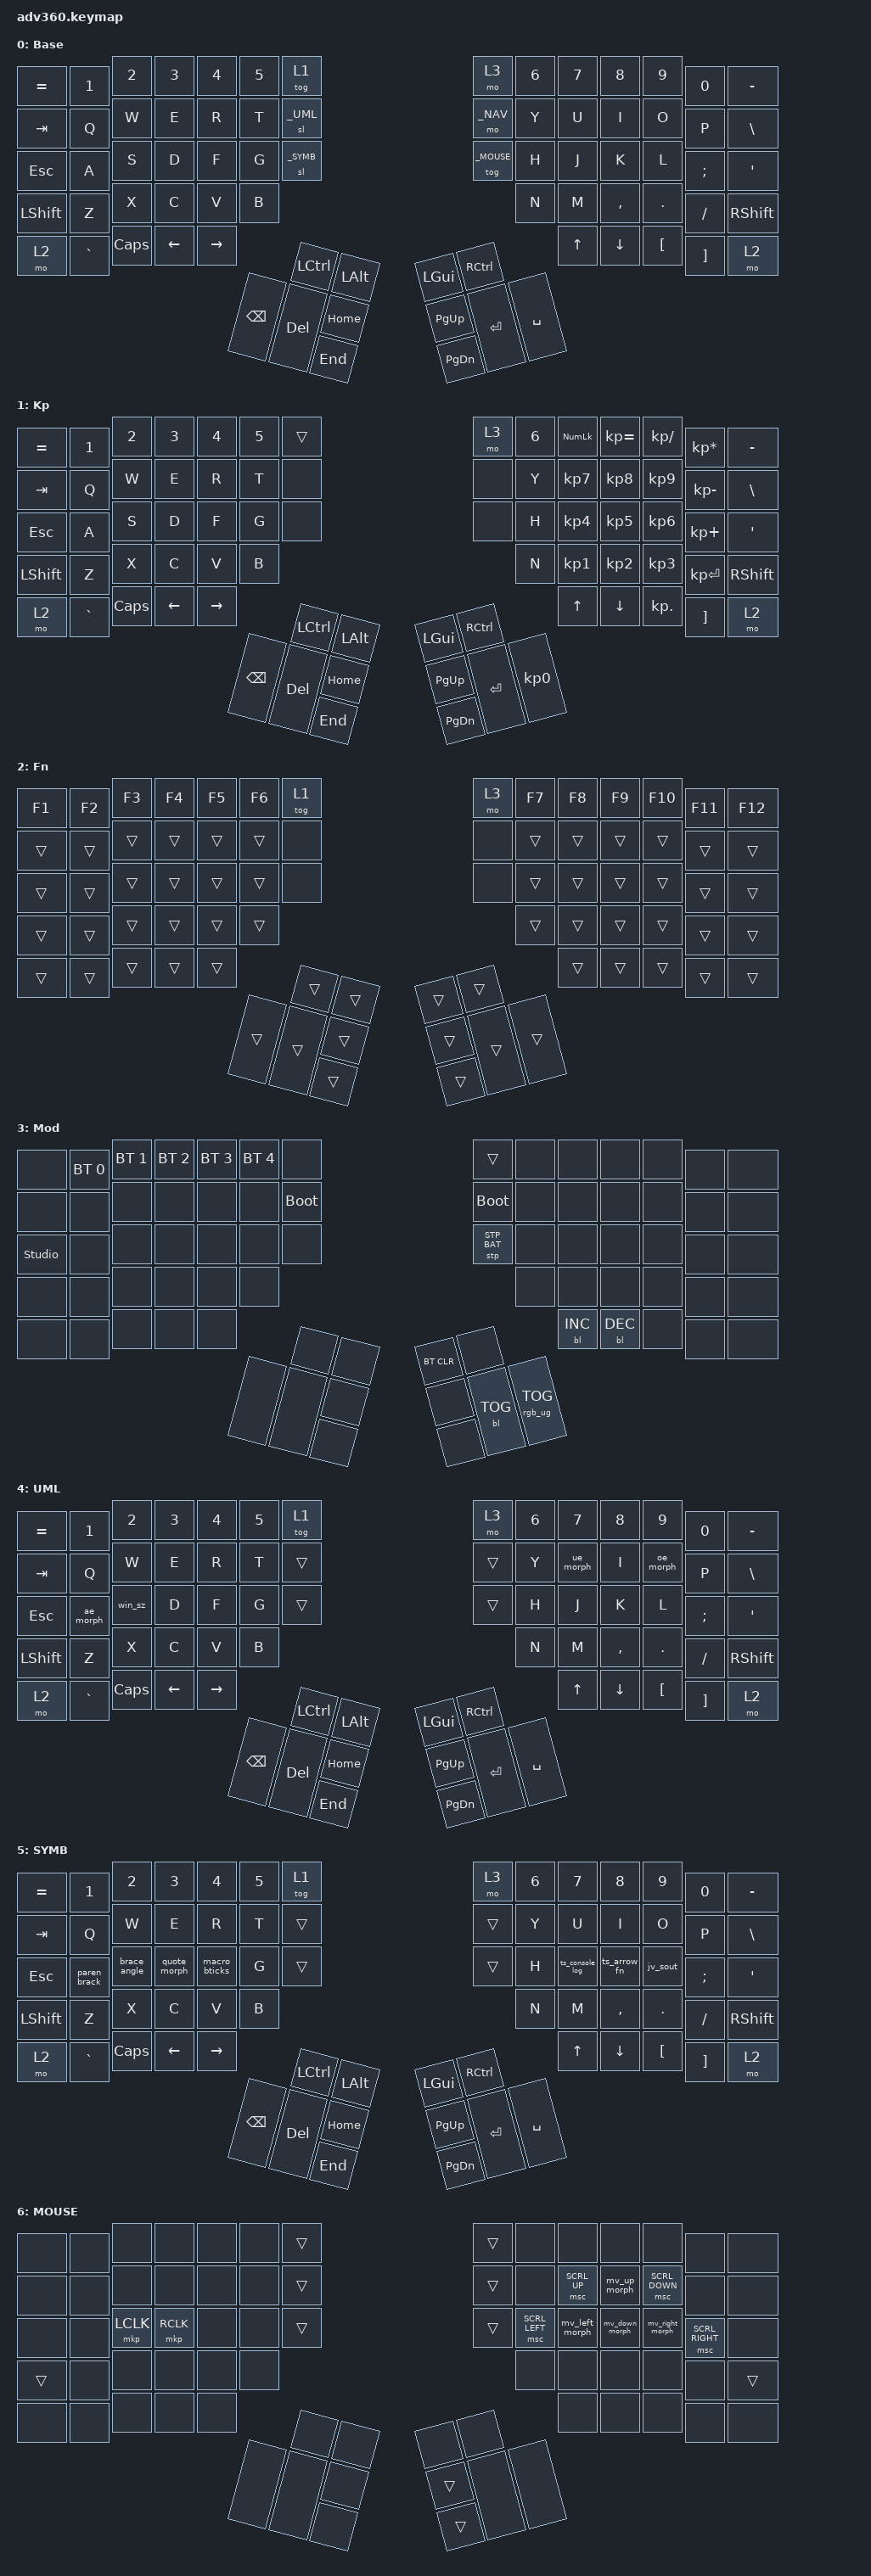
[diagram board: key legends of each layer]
#include <behaviors.dtsi>
#include <dt-bindings/zmk/keys.h>
#include <dt-bindings/zmk/bt.h>
#include <dt-bindings/zmk/rgb.h>
#include <dt-bindings/zmk/stp.h>
#include <dt-bindings/zmk/backlight.h>
#include <dt-bindings/zmk/pointing.h>

// Include these at top level (NOT inside 'behaviors')
#include "macros.dtsi"
// #include "version.dtsi"

#define _BASE   0
#define _KP     1
#define _FN     2
#define _MOD    3
#define _UML    4   // umlaut
#define _SYMB   5   // coding symbols 
#define _MOUSE  6
#define _NAV    7   // navigation/editing

&mmv {
  time-to-max-speed-ms = <100>;   // default ~300
  acceleration-exponent = <1>;    // 0 = linear, >1 = more ramp
};

/ {
  behaviors {

    hm: homerow_mods {
      compatible = "zmk,behavior-hold-tap";
      label = "HOMEROW_MODS";
      #binding-cells = <2>;
      tapping-term-ms = <200>;
      flavor = "balanced";
      bindings = <&kp>, <&kp>; // we pass (MOD, KEY) each time we use &hm
    };

    // mod-morph for A/Ä, O/Ö, U/Ü
    ae_morph: ae_morph {
      compatible = "zmk,behavior-mod-morph";
      #binding-cells = <0>;
      mods = <(MOD_LSFT|MOD_RSFT)>;
      bindings = <&win_ae &win_AE>;
    };
    oe_morph: oe_morph {
      compatible = "zmk,behavior-mod-morph";
      #binding-cells = <0>;
      mods = <(MOD_LSFT|MOD_RSFT)>;
      bindings = <&win_oe &win_OE>;
    };
    ue_morph: ue_morph {
      compatible = "zmk,behavior-mod-morph";
      #binding-cells = <0>;
      mods = <(MOD_LSFT|MOD_RSFT)>;
      bindings = <&win_ue &win_UE>;
    };

    // mod-morph for paired symbols (Shift switches the pair)
    paren_brack: paren_brack {
      compatible = "zmk,behavior-mod-morph";
      #binding-cells = <0>;
      mods = <(MOD_LSFT|MOD_RSFT)>;
      bindings = <&macro_parens &macro_brackets>;
    };
    brace_angle: brace_angle {
      compatible = "zmk,behavior-mod-morph";
      #binding-cells = <0>;
      mods = <(MOD_LSFT|MOD_RSFT)>;
      bindings = <&macro_braces &macro_angles>;
    };
    quote_morph: quote_morph {
      compatible = "zmk,behavior-mod-morph";
      #binding-cells = <0>;
      mods = <(MOD_LSFT|MOD_RSFT)>;
      bindings = <&macro_quotes &macro_dquotes>;
    };

    // Mouse speed
    // Shift held → fast movement; otherwise slow
    mv_up_morph: mv_up_morph {
      compatible = "zmk,behavior-mod-morph";
      #binding-cells = <0>;
      mods = <(MOD_LSFT|MOD_RSFT)>;
      bindings = <&mmv MOVE_Y(-500)   &mmv MOVE_Y(-1200)>; // slow ↑ , fast ↑
    };
    mv_down_morph: mv_down_morph {
      compatible = "zmk,behavior-mod-morph"; #binding-cells = <0>;
      mods = <(MOD_LSFT|MOD_RSFT)>;
      bindings = <&mmv MOVE_Y(500)    &mmv MOVE_Y(1200)>;  // slow ↓ , fast ↓
    };
    mv_left_morph: mv_left_morph {
      compatible = "zmk,behavior-mod-morph"; #binding-cells = <0>;
      mods = <(MOD_LSFT|MOD_RSFT)>;
      bindings = <&mmv MOVE_X(-500)   &mmv MOVE_X(-1200)>; // slow ← , fast ←
    };
    mv_right_morph: mv_right_morph {
      compatible = "zmk,behavior-mod-morph"; #binding-cells = <0>;
      mods = <(MOD_LSFT|MOD_RSFT)>;
      bindings = <&mmv MOVE_X(500)    &mmv MOVE_X(1200)>;  // slow → , fast →
    };
  };

  keymap {
    compatible = "zmk,keymap";

    default_layer {
      display-name = "Base";
      bindings = <
        &kp EQUAL &kp N1    &kp N2   &kp N3   &kp N4     &kp N5 &tog 1                                                           &mo 3      &kp N6 &kp N7 &kp N8    &kp N9   &kp N0   &kp MINUS
        &kp TAB   &kp Q     &kp W    &kp E    &kp R      &kp T  &sl _UML                                                         &mo _NAV   &kp Y  &kp U  &kp I     &kp O    &kp P    &kp BSLH
        &kp ESC   &kp A     &kp S    &kp D    &kp F      &kp G  &sl _SYMB       &kp LCTRL &kp LALT &kp LGUI  &kp RCTRL           &tog _MOUSE &kp H  &kp J  &kp K     &kp L    &kp SEMI &kp APOSTROPHE
        &kp LSHFT &kp Z     &kp X    &kp C    &kp V      &kp B                            &kp HOME &kp PG_UP                                &kp N  &kp M  &kp COMMA &kp DOT  &kp SLASH &kp RSHFT
        &mo 2     &kp GRAVE &kp CAPS &kp LEFT &kp RIGHT                &kp BSPC &kp DEL   &kp END  &kp PG_DN &kp ENTER &kp SPACE                 &kp UP &kp DOWN  &kp LBKT &kp RBKT &mo 2
      >;
    };

    keypad {
      display-name = "Kp";
      bindings = <
        &kp EQUAL &kp N1    &kp N2   &kp N3   &kp N4     &kp N5 &trans                                                           &mo 3 &kp N6 &kp KP_NUM &kp KP_EQUAL &kp KP_DIVIDE &kp KP_MULTIPLY &kp MINUS
        &kp TAB   &kp Q     &kp W    &kp E    &kp R      &kp T  &none                                                            &none &kp Y  &kp KP_N7  &kp KP_N8    &kp KP_N9     &kp KP_MINUS    &kp BSLH
        &kp ESC   &kp A     &kp S    &kp D    &kp F      &kp G  &none           &kp LCTRL &kp LALT &kp LGUI  &kp RCTRL           &none &kp H  &kp KP_N4  &kp KP_N5    &kp KP_N6     &kp KP_PLUS     &kp APOSTROPHE
        &kp LSHFT &kp Z     &kp X    &kp C    &kp V      &kp B                            &kp HOME &kp PG_UP                           &kp N  &kp KP_N1  &kp KP_N2    &kp KP_N3     &kp KP_ENTER    &kp RSHFT
        &mo 2     &kp GRAVE &kp CAPS &kp LEFT &kp RIGHT                &kp BSPC &kp DEL   &kp END  &kp PG_DN &kp ENTER &kp KP_N0              &kp UP     &kp DOWN     &kp KP_DOT    &kp RBKT        &mo 2
      >;
    };

    fn {
      display-name = "Fn";
      bindings = <
        &kp F1 &kp F2 &kp F3 &kp F4 &kp F5 &kp F6 &tog 1                                           &mo 3 &kp F7 &kp F8 &kp F9 &kp F10 &kp F11 &kp F12
        &trans &trans &trans &trans &trans &trans  &none                                           &none &trans &trans &trans &trans  &trans  &trans
        &trans &trans &trans &trans &trans &trans  &none        &trans &trans &trans &trans        &none &trans &trans &trans &trans  &trans  &trans
        &trans &trans &trans &trans &trans &trans                      &trans &trans                     &trans &trans &trans &trans  &trans  &trans
        &trans &trans &trans &trans &trans               &trans &trans &trans &trans &trans &trans              &trans &trans &trans  &trans  &trans
      >;
    };

    mod {
      display-name = "Mod";
      bindings = <
        &none &bt BT_SEL 0 &bt BT_SEL 1 &bt BT_SEL 2 &bt BT_SEL 3 &bt BT_SEL 4 &none                                                                     &trans                 &none        &none        &none        &none &none &none
        &none &none        &none        &none        &none        &none        &bootloader                                                               &bootloader            &none        &none        &none        &none &none &none
        &studio_unlock &none        &none        &none        &none        &none        &none                   &none &none &bt BT_CLR &none                      &stp STP_BAT &none        &none        &none        &none &none &none
        &none &none        &none        &none        &none   &none                                      &none &none                                                        &none        &none        &none        &none &none &none
        &none &none        &none        &none        &none                                       &none &none &none &none      &bl BL_TOG &rgb_ug RGB_TOG                                     &bl BL_INC   &bl BL_DEC   &none &none &none
      >;
    };

    uml {
      display-name = "UML";
      bindings = <
        &kp EQUAL &kp N1    &kp N2   &kp N3   &kp N4     &kp N5 &tog 1                                                           &mo 3      &kp N6 &kp N7  &kp N8    &kp N9   &kp N0   &kp MINUS
        &kp TAB   &kp Q     &kp W    &kp E    &kp R      &kp T  &trans                                                         &trans   &kp Y  &ue_morph &kp I     &oe_morph  &kp P    &kp BSLH
        &kp ESC   &ae_morph &win_sz  &kp D    &kp F      &kp G  &trans       &kp LCTRL &kp LALT &kp LGUI  &kp RCTRL           &trans &kp H  &kp J   &kp K     &kp L    &kp SEMI &kp APOSTROPHE
        &kp LSHFT &kp Z     &kp X    &kp C    &kp V      &kp B                            &kp HOME &kp PG_UP                                &kp N  &kp M   &kp COMMA &kp DOT  &kp SLASH &kp RSHFT
        &mo 2     &kp GRAVE &kp CAPS &kp LEFT &kp RIGHT                &kp BSPC &kp DEL   &kp END  &kp PG_DN &kp ENTER &kp SPACE                 &kp UP &kp DOWN  &kp LBKT &kp RBKT &mo 2
      >; 
    };

    symb {
      display-name = "SYMB";
      bindings = <
        &kp EQUAL &kp N1    &kp N2   &kp N3   &kp N4     &kp N5 &tog 1                                                           &mo 3      &kp N6 &kp N7 &kp N8    &kp N9   &kp N0   &kp MINUS
        &kp TAB   &kp Q     &kp W    &kp E    &kp R      &kp T  &trans                                                         &trans   &kp Y  &kp U  &kp I     &kp O    &kp P    &kp BSLH
        &kp ESC   &paren_brack     &brace_angle    &quote_morph    &macro_bticks      &kp G  &trans       &kp LCTRL &kp LALT &kp LGUI  &kp RCTRL           &trans &kp H  &ts_console_log  &ts_arrow_fn     &jv_sout    &kp SEMI &kp APOSTROPHE
        &kp LSHFT &kp Z     &kp X    &kp C    &kp V      &kp B                            &kp HOME &kp PG_UP                                &kp N  &kp M  &kp COMMA &kp DOT  &kp SLASH &kp RSHFT
        &mo 2     &kp GRAVE &kp CAPS &kp LEFT &kp RIGHT                &kp BSPC &kp DEL   &kp END  &kp PG_DN &kp ENTER &kp SPACE                 &kp UP &kp DOWN  &kp LBKT &kp RBKT &mo 2
      >; 
    };

    mouse {
      display-name = "MOUSE";
      bindings = <
        &none &none &none &none &none &none &trans                                             &trans &none &none &none &none &none &none
        &none &none &none &none &none &none  &trans                                            &trans &none &msc SCRL_UP &mv_up_morph &msc SCRL_DOWN  &none  &none
        &none &none &mkp LCLK &mkp RCLK &none &none &trans        &none &none &none &none             &trans &msc SCRL_LEFT &mv_left_morph &mv_down_morph &mv_right_morph  &msc SCRL_RIGHT  &none
        &trans &none &none &none &none &none                      &none &trans                     &none &none &none &none  &none  &trans
        &none &none &none &none &none               &none &none &none &trans &none &none              &none &none &none  &none  &none
      >;
    };

    nav { 
      display-name = "NAV";    
      status = "reserved";
    };
  };
};
